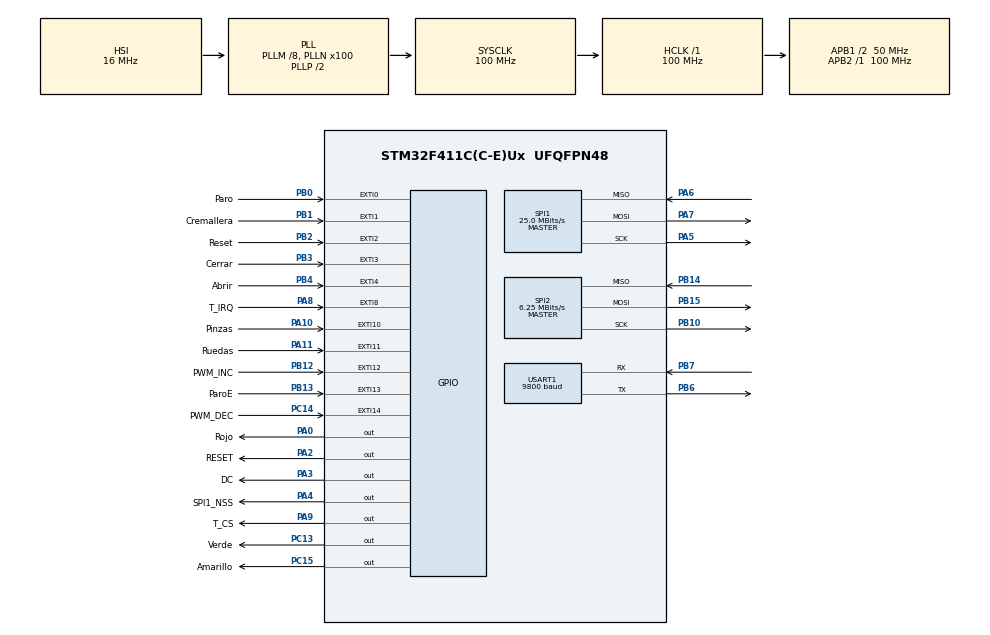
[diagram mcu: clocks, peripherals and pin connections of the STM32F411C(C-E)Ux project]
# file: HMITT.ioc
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Dma.Request0=SPI1_TX
Dma.Request1=USART1_RX
Dma.Request2=USART1_TX
Dma.SPI1_TX.0.Direction=DMA_MEMORY_TO_PERIPH
Dma.SPI1_TX.0.FIFOMode=DMA_FIFOMODE_ENABLE
Dma.SPI1_TX.0.FIFOThreshold=DMA_FIFO_THRESHOLD_FULL
Dma.SPI1_TX.0.Instance=DMA2_Stream2
Dma.SPI1_TX.0.MemBurst=DMA_MBURST_SINGLE
Dma.SPI1_TX.0.MemDataAlignment=DMA_MDATAALIGN_BYTE
Dma.SPI1_TX.0.MemInc=DMA_MINC_ENABLE
Dma.SPI1_TX.0.Mode=DMA_NORMAL
Dma.SPI1_TX.0.PeriphBurst=DMA_PBURST_SINGLE
Dma.SPI1_TX.0.PeriphDataAlignment=DMA_PDATAALIGN_BYTE
Dma.SPI1_TX.0.PeriphInc=DMA_PINC_DISABLE
Dma.SPI1_TX.0.Priority=DMA_PRIORITY_LOW
Dma.USART1_RX.1.Direction=DMA_PERIPH_TO_MEMORY
Dma.USART1_RX.1.FIFOMode=DMA_FIFOMODE_DISABLE
Dma.USART1_RX.1.Instance=DMA2_Stream5
Dma.USART1_RX.1.MemDataAlignment=DMA_MDATAALIGN_BYTE
Dma.USART1_RX.1.MemInc=DMA_MINC_ENABLE
Dma.USART1_RX.1.Mode=DMA_CIRCULAR
Dma.USART1_RX.1.PeriphDataAlignment=DMA_PDATAALIGN_BYTE
Dma.USART1_RX.1.PeriphInc=DMA_PINC_DISABLE
Dma.USART1_RX.1.Priority=DMA_PRIORITY_LOW
Dma.USART1_TX.2.Direction=DMA_MEMORY_TO_PERIPH
Dma.USART1_TX.2.FIFOMode=DMA_FIFOMODE_DISABLE
Dma.USART1_TX.2.Instance=DMA2_Stream7
Dma.USART1_TX.2.MemDataAlignment=DMA_MDATAALIGN_BYTE
Dma.USART1_TX.2.MemInc=DMA_MINC_ENABLE
Dma.USART1_TX.2.Mode=DMA_NORMAL
Dma.USART1_TX.2.PeriphDataAlignment=DMA_PDATAALIGN_BYTE
Dma.USART1_TX.2.PeriphInc=DMA_PINC_DISABLE
Dma.USART1_TX.2.Priority=DMA_PRIORITY_LOW
FREERTOS.Tasks01=defaultTask,24,128,StartDefaultTask,Default,NULL,Dynamic,NULL,NULL;refreshGUI,24,128,RefreshGUI,Default,NULL,Dynamic,NULL,NULL;TouchGFXTask,24,2048,TouchGFX_Task,As external,NULL,Dynamic,NULL,NULL;CounterUp,8,128,Counter_UP,Default,NULL,Dynamic,NULL,NULL;parserTask,39,128,ParserTask,Default,NULL,Dynamic,NULL,NULL
FREERTOS.configTOTAL_HEAP_SIZE=30720
Mcu.Family=STM32F4
Mcu.Name=STM32F411C(C-E)Ux
Mcu.Package=UFQFPN48
NVIC.DMA2_Stream2_IRQn=true\:5\:0\:false\:false\:true\:true\:false\:true\:true
NVIC.DMA2_Stream5_IRQn=true\:5\:0\:false\:false\:true\:true\:false\:true\:true
NVIC.DMA2_Stream7_IRQn=true\:5\:0\:false\:false\:true\:true\:false\:true\:true
NVIC.EXTI0_IRQn=true\:5\:0\:false\:false\:true\:true\:true\:true\:true
NVIC.EXTI15_10_IRQn=true\:5\:0\:false\:false\:true\:true\:true\:true\:true
NVIC.EXTI1_IRQn=true\:5\:0\:false\:false\:true\:true\:true\:true\:true
NVIC.EXTI2_IRQn=true\:5\:0\:false\:false\:true\:true\:true\:true\:true
NVIC.EXTI3_IRQn=true\:5\:0\:false\:false\:true\:true\:true\:true\:true
NVIC.EXTI4_IRQn=true\:5\:0\:false\:false\:true\:true\:true\:true\:true
NVIC.EXTI9_5_IRQn=true\:5\:0\:false\:false\:true\:true\:true\:true\:true
NVIC.PriorityGroup=NVIC_PRIORITYGROUP_4
NVIC.SPI1_IRQn=true\:5\:0\:false\:false\:true\:true\:true\:true\:true
NVIC.SPI2_IRQn=true\:5\:0\:false\:false\:true\:true\:true\:true\:true
NVIC.TIM1_UP_TIM10_IRQn=true\:15\:0\:false\:false\:true\:false\:false\:true\:true
NVIC.TIM2_IRQn=true\:5\:0\:false\:false\:true\:true\:true\:true\:true
NVIC.TimeBase=TIM1_UP_TIM10_IRQn
NVIC.TimeBaseIP=TIM1
NVIC.USART1_IRQn=true\:5\:0\:false\:false\:true\:true\:true\:true\:true
PA0-WKUP.GPIO_Label=Rojo
PA0-WKUP.Signal=GPIO_Output
PA10.GPIO_Label=Pinzas
PA10.GPIO_PuPd=GPIO_PULLDOWN
PA10.Signal=GPXTI10
PA11.GPIO_Label=Ruedas
PA11.GPIO_PuPd=GPIO_PULLDOWN
PA11.Signal=GPXTI11
PA2.GPIO_Label=RESET
PA2.GPIO_PuPd=GPIO_NOPULL
PA2.GPIO_Speed=GPIO_SPEED_FREQ_VERY_HIGH
PA2.Signal=GPIO_Output
PA3.GPIO_Label=DC
PA3.GPIO_Speed=GPIO_SPEED_FREQ_VERY_HIGH
PA3.Signal=GPIO_Output
PA4.GPIO_Label=SPI1_NSS
PA4.GPIO_Speed=GPIO_SPEED_FREQ_VERY_HIGH
PA4.Signal=GPIO_Output
PA5.Mode=Full_Duplex_Master
PA5.Signal=SPI1_SCK
PA6.Mode=Full_Duplex_Master
PA6.Signal=SPI1_MISO
PA7.Mode=Full_Duplex_Master
PA7.Signal=SPI1_MOSI
PA8.GPIO_Label=T_IRQ
PA8.GPIO_ModeDefaultEXTI=GPIO_MODE_IT_FALLING
PA8.GPIO_PuPd=GPIO_PULLUP
PA8.Signal=GPXTI8
PA9.GPIO_Label=T_CS
PA9.Signal=GPIO_Output
PB0.GPIO_Label=Paro
PB0.GPIO_PuPd=GPIO_PULLDOWN
PB0.Signal=GPXTI0
PB1.GPIO_Label=Cremallera
PB1.GPIO_PuPd=GPIO_PULLDOWN
PB1.Signal=GPXTI1
PB10.Mode=Full_Duplex_Master
PB10.Signal=SPI2_SCK
PB12.GPIO_Label=PWM_INC
PB12.GPIO_ModeDefaultEXTI=GPIO_MODE_IT_RISING
PB12.GPIO_PuPd=GPIO_PULLDOWN
PB12.Signal=GPXTI12
PB13.GPIO_Label=ParoE
PB13.GPIO_PuPd=GPIO_PULLDOWN
PB13.Signal=GPXTI13
PB14.Mode=Full_Duplex_Master
PB14.Signal=SPI2_MISO
PB15.Mode=Full_Duplex_Master
PB15.Signal=SPI2_MOSI
PB2.GPIO_Label=Reset
PB2.GPIO_PuPd=GPIO_PULLDOWN
PB2.Signal=GPXTI2
PB3.GPIO_Label=Cerrar
PB3.GPIO_PuPd=GPIO_PULLDOWN
PB3.Signal=GPXTI3
PB4.GPIO_Label=Abrir
PB4.GPIO_PuPd=GPIO_PULLDOWN
PB4.Signal=GPXTI4
PB6.Mode=Asynchronous
PB6.Signal=USART1_TX
PB7.Mode=Asynchronous
PB7.Signal=USART1_RX
PC13-ANTI_TAMP.GPIO_Label=Verde
PC13-ANTI_TAMP.Signal=GPIO_Output
PC14-OSC32_IN.GPIO_Label=PWM_DEC
PC14-OSC32_IN.GPIO_PuPd=GPIO_PULLDOWN
PC14-OSC32_IN.Signal=GPXTI14
PC15-OSC32_OUT.GPIO_Label=Amarillo
PC15-OSC32_OUT.Signal=GPIO_Output
ProjectManager.HeapSize=0x2000
ProjectManager.StackSize=0x4000
ProjectManager.TargetToolchain=STM32CubeIDE
RCC.48MHZClocksFreq_Value=50000000
RCC.AHBFreq_Value=100000000
RCC.APB1CLKDivider=RCC_HCLK_DIV2
RCC.APB1Freq_Value=50000000
RCC.APB1TimFreq_Value=100000000
RCC.APB2Freq_Value=100000000
RCC.APB2TimFreq_Value=100000000
RCC.CortexFreq_Value=100000000
RCC.HCLKFreq_Value=100000000
RCC.HSE_VALUE=25000000
RCC.HSI_VALUE=16000000
RCC.LSE_VALUE=32768
RCC.PLLM=8
RCC.PLLN=100
RCC.SYSCLKFreq_VALUE=100000000
RCC.SYSCLKSource=RCC_SYSCLKSOURCE_PLLCLK
RCC.VCOOutputFreq_Value=200000000
SPI1.BaudRatePrescaler=SPI_BAUDRATEPRESCALER_4
SPI1.CalculateBaudRate=25.0 MBits/s
SPI1.DataSize=SPI_DATASIZE_8BIT
SPI1.Direction=SPI_DIRECTION_2LINES
SPI1.Mode=SPI_MODE_MASTER
SPI1.VirtualType=VM_MASTER
SPI2.BaudRatePrescaler=SPI_BAUDRATEPRESCALER_8
SPI2.CalculateBaudRate=6.25 MBits/s
SPI2.DataSize=SPI_DATASIZE_8BIT
SPI2.Direction=SPI_DIRECTION_2LINES
SPI2.Mode=SPI_MODE_MASTER
SPI2.VirtualType=VM_MASTER
STMicroelectronics.X-CUBE-TOUCHGFX.4.26.0.ApplicationCcGraphicsJjApplication=TouchGFXOoGenerator
STMicroelectronics.X-CUBE-TOUCHGFX.4.26.0.tgfx_block_size=1920
STMicroelectronics.X-CUBE-TOUCHGFX.4.26.0.tgfx_buffering_strategy=Partial
STMicroelectronics.X-CUBE-TOUCHGFX.4.26.0.tgfx_custom_height=240
STMicroelectronics.X-CUBE-TOUCHGFX.4.26.0.tgfx_custom_width=320
STMicroelectronics.X-CUBE-TOUCHGFX.4.26.0_IsPackSelfContextualization=true
TIM2.Period=50000-1
TIM2.Prescaler=99
USART1.BaudRate=9800
USART1.Mode=MODE_TX_RX
USART1.VirtualMode=VM_ASYNC
VP_CRC_VS_CRC.Mode=CRC_Activate
VP_FREERTOS_VS_CMSIS_V2.Mode=CMSIS_V2
VP_STMicroelectronics.X-CUBE-TOUCHGFX_VS_GraphicsJjApplication_4.26.0.Mode=GraphicsJjApplication
VP_SYS_VS_tim1.Mode=TIM1
VP_TIM2_VS_ClockSourceINT.Mode=Internal
board=custom

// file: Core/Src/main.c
/* USER CODE BEGIN Header */
/**
  ******************************************************************************
  * @file           : main.c
  * @brief          : Main program body
  ******************************************************************************
  * @attention
  *
  * Copyright (c) 2026 STMicroelectronics.
  * All rights reserved.
  *
  * This software is licensed under terms that can be found in the LICENSE file
  * in the root directory of this software component.
  * If no LICENSE file comes with this software, it is provided AS-IS.
  *
  ******************************************************************************
  */
/* USER CODE END Header */
#include "main.h"
#include "cmsis_os.h"
#include "app_touchgfx.h"

/* USER CODE BEGIN Includes */
#include "ili9341.h"
#include "xpt2046.h"
#include "globals.h"
#include "protocolo.h"
/* USER CODE END Includes */

/* USER CODE BEGIN PD */
#define DMA_RX_BUF_SIZE 64
/* USER CODE END PD */

CRC_HandleTypeDef hcrc;

SPI_HandleTypeDef hspi1;
SPI_HandleTypeDef hspi2;
DMA_HandleTypeDef hdma_spi1_tx;

TIM_HandleTypeDef htim2;

UART_HandleTypeDef huart1;
DMA_HandleTypeDef hdma_usart1_rx;
DMA_HandleTypeDef hdma_usart1_tx;

/* Definitions for defaultTask */
osThreadId_t defaultTaskHandle;
const osThreadAttr_t defaultTask_attributes = {
  .name = "defaultTask",
  .stack_size = 128 * 4,
  .priority = (osPriority_t) osPriorityNormal,
};
/* Definitions for refreshGUI */
osThreadId_t refreshGUIHandle;
const osThreadAttr_t refreshGUI_attributes = {
  .name = "refreshGUI",
  .stack_size = 128 * 4,
  .priority = (osPriority_t) osPriorityNormal,
};
/* Definitions for TouchGFXTask */
osThreadId_t TouchGFXTaskHandle;
const osThreadAttr_t TouchGFXTask_attributes = {
  .name = "TouchGFXTask",
  .stack_size = 2048 * 4,
  .priority = (osPriority_t) osPriorityNormal,
};
/* Definitions for CounterUp */
osThreadId_t CounterUpHandle;
const osThreadAttr_t CounterUp_attributes = {
  .name = "CounterUp",
  .stack_size = 128 * 4,
  .priority = (osPriority_t) osPriorityLow,
};
/* Definitions for parserTask */
osThreadId_t parserTaskHandle;
const osThreadAttr_t parserTask_attributes = {
  .name = "parserTask",
  .stack_size = 128 * 4,
  .priority = (osPriority_t) osPriorityAboveNormal7,
};
/* USER CODE BEGIN PV */
uint8_t dma_rx_buf[DMA_RX_BUF_SIZE];
volatile uint16_t dma_read_idx = 0;
osSemaphoreId_t uartRxSemHandle;
/* USER CODE END PV */

void SystemClock_Config(void);
static void MX_GPIO_Init(void);
static void MX_DMA_Init(void);
static void MX_SPI1_Init(void);
static void MX_SPI2_Init(void);
static void MX_CRC_Init(void);
static void MX_TIM2_Init(void);
static void MX_USART1_UART_Init(void);
void StartDefaultTask(void *argument);
void RefreshGUI(void *argument);
extern void TouchGFX_Task(void *argument);
void Counter_UP(void *argument);
void ParserTask(void *argument);

int main(void)
{

  /* MCU Configuration--------------------------------------------------------*/

  /* Reset of all peripherals, Initializes the Flash interface and the Systick. */
  HAL_Init();

  /* Configure the system clock */
  SystemClock_Config();

  /* Initialize all configured peripherals */
  MX_GPIO_Init();
  MX_DMA_Init();
  MX_SPI1_Init();
  MX_SPI2_Init();
  MX_CRC_Init();
  MX_TIM2_Init();
  MX_USART1_UART_Init();

  /* Call PreOsInit function */
  MX_TouchGFX_PreOSInit();
  /* USER CODE BEGIN 2 */

    ILI9341_Init();
    XPT2046_Init();

    HAL_UART_Receive_DMA(&huart1, dma_rx_buf, DMA_RX_BUF_SIZE);
    HAL_GPIO_WritePin(Amarillo_GPIO_Port, Amarillo_Pin, GPIO_PIN_RESET);
	HAL_GPIO_WritePin(Verde_GPIO_Port, Verde_Pin, GPIO_PIN_RESET);
	HAL_GPIO_WritePin(Rojo_GPIO_Port, Rojo_Pin, GPIO_PIN_SET);
  /* USER CODE END 2 */

  /* Init scheduler */
  osKernelInitialize();
  MX_TouchGFX_Init();

  /* USER CODE BEGIN RTOS_SEMAPHORES */
  const osSemaphoreAttr_t uartRxSem_attr = { .name = "uartRxSem" };
  uartRxSemHandle = osSemaphoreNew(1, 0, &uartRxSem_attr);
  /* USER CODE END RTOS_SEMAPHORES */

  /* Create the thread(s) */
  /* creation of defaultTask */
  defaultTaskHandle = osThreadNew(StartDefaultTask, NULL, &defaultTask_attributes);

  /* creation of refreshGUI */
  refreshGUIHandle = osThreadNew(RefreshGUI, NULL, &refreshGUI_attributes);

  /* creation of TouchGFXTask */
  TouchGFXTaskHandle = osThreadNew(TouchGFX_Task, NULL, &TouchGFXTask_attributes);

  /* creation of CounterUp */
  CounterUpHandle = osThreadNew(Counter_UP, NULL, &CounterUp_attributes);

  /* creation of parserTask */
  parserTaskHandle = osThreadNew(ParserTask, NULL, &parserTask_attributes);

  /* Start scheduler */
  osKernelStart();

  /* We should never get here as control is now taken by the scheduler */

  /* Infinite loop */
  while (1)
  {

  }
}

void SystemClock_Config(void)
{
  RCC_OscInitTypeDef RCC_OscInitStruct = {0};
  RCC_ClkInitTypeDef RCC_ClkInitStruct = {0};

  /** Configure the main internal regulator output voltage
  */
  __HAL_RCC_PWR_CLK_ENABLE();
  __HAL_PWR_VOLTAGESCALING_CONFIG(PWR_REGULATOR_VOLTAGE_SCALE1);

  /** Initializes the RCC Oscillators according to the specified parameters
  * in the RCC_OscInitTypeDef structure.
  */
  RCC_OscInitStruct.OscillatorType = RCC_OSCILLATORTYPE_HSI;
  RCC_OscInitStruct.HSIState = RCC_HSI_ON;
  RCC_OscInitStruct.HSICalibrationValue = RCC_HSICALIBRATION_DEFAULT;
  RCC_OscInitStruct.PLL.PLLState = RCC_PLL_ON;
  RCC_OscInitStruct.PLL.PLLSource = RCC_PLLSOURCE_HSI;
  RCC_OscInitStruct.PLL.PLLM = 8;
  RCC_OscInitStruct.PLL.PLLN = 100;
  RCC_OscInitStruct.PLL.PLLP = RCC_PLLP_DIV2;
  RCC_OscInitStruct.PLL.PLLQ = 4;
  if (HAL_RCC_OscConfig(&RCC_OscInitStruct) != HAL_OK)
  {
    Error_Handler();
  }

  /** Initializes the CPU, AHB and APB buses clocks
  */
  RCC_ClkInitStruct.ClockType = RCC_CLOCKTYPE_HCLK|RCC_CLOCKTYPE_SYSCLK
                              |RCC_CLOCKTYPE_PCLK1|RCC_CLOCKTYPE_PCLK2;
  RCC_ClkInitStruct.SYSCLKSource = RCC_SYSCLKSOURCE_PLLCLK;
  RCC_ClkInitStruct.AHBCLKDivider = RCC_SYSCLK_DIV1;
  RCC_ClkInitStruct.APB1CLKDivider = RCC_HCLK_DIV2;
  RCC_ClkInitStruct.APB2CLKDivider = RCC_HCLK_DIV1;

  if (HAL_RCC_ClockConfig(&RCC_ClkInitStruct, FLASH_LATENCY_3) != HAL_OK)
  {
    Error_Handler();
  }
}

static void MX_CRC_Init(void)
{

  hcrc.Instance = CRC;
  if (HAL_CRC_Init(&hcrc) != HAL_OK)
  {
    Error_Handler();
  }

}

static void MX_SPI1_Init(void)
{

  /* SPI1 parameter configuration*/
  hspi1.Instance = SPI1;
  hspi1.Init.Mode = SPI_MODE_MASTER;
  hspi1.Init.Direction = SPI_DIRECTION_2LINES;
  hspi1.Init.DataSize = SPI_DATASIZE_8BIT;
  hspi1.Init.CLKPolarity = SPI_POLARITY_LOW;
  hspi1.Init.CLKPhase = SPI_PHASE_1EDGE;
  hspi1.Init.NSS = SPI_NSS_SOFT;
  hspi1.Init.BaudRatePrescaler = SPI_BAUDRATEPRESCALER_4;
  hspi1.Init.FirstBit = SPI_FIRSTBIT_MSB;
  hspi1.Init.TIMode = SPI_TIMODE_DISABLE;
  hspi1.Init.CRCCalculation = SPI_CRCCALCULATION_DISABLE;
  hspi1.Init.CRCPolynomial = 10;
  if (HAL_SPI_Init(&hspi1) != HAL_OK)
  {
    Error_Handler();
  }

}

static void MX_SPI2_Init(void)
{

  /* SPI2 parameter configuration*/
  hspi2.Instance = SPI2;
  hspi2.Init.Mode = SPI_MODE_MASTER;
  hspi2.Init.Direction = SPI_DIRECTION_2LINES;
  hspi2.Init.DataSize = SPI_DATASIZE_8BIT;
  hspi2.Init.CLKPolarity = SPI_POLARITY_LOW;
  hspi2.Init.CLKPhase = SPI_PHASE_1EDGE;
  hspi2.Init.NSS = SPI_NSS_SOFT;
  hspi2.Init.BaudRatePrescaler = SPI_BAUDRATEPRESCALER_8;
  hspi2.Init.FirstBit = SPI_FIRSTBIT_MSB;
  hspi2.Init.TIMode = SPI_TIMODE_DISABLE;
  hspi2.Init.CRCCalculation = SPI_CRCCALCULATION_DISABLE;
  hspi2.Init.CRCPolynomial = 10;
  if (HAL_SPI_Init(&hspi2) != HAL_OK)
  {
    Error_Handler();
  }

}

static void MX_TIM2_Init(void)
{

  TIM_ClockConfigTypeDef sClockSourceConfig = {0};
  TIM_MasterConfigTypeDef sMasterConfig = {0};

  htim2.Instance = TIM2;
  htim2.Init.Prescaler = 99;
  htim2.Init.CounterMode = TIM_COUNTERMODE_UP;
  htim2.Init.Period = 50000-1;
  htim2.Init.ClockDivision = TIM_CLOCKDIVISION_DIV1;
  htim2.Init.AutoReloadPreload = TIM_AUTORELOAD_PRELOAD_DISABLE;
  if (HAL_TIM_Base_Init(&htim2) != HAL_OK)
  {
    Error_Handler();
  }
  sClockSourceConfig.ClockSource = TIM_CLOCKSOURCE_INTERNAL;
  if (HAL_TIM_ConfigClockSource(&htim2, &sClockSourceConfig) != HAL_OK)
  {
    Error_Handler();
  }
  sMasterConfig.MasterOutputTrigger = TIM_TRGO_RESET;
  sMasterConfig.MasterSlaveMode = TIM_MASTERSLAVEMODE_DISABLE;
  if (HAL_TIMEx_MasterConfigSynchronization(&htim2, &sMasterConfig) != HAL_OK)
  {
    Error_Handler();
  }

}

static void MX_USART1_UART_Init(void)
{

  huart1.Instance = USART1;
  huart1.Init.BaudRate = 9800;
  huart1.Init.WordLength = UART_WORDLENGTH_8B;
  huart1.Init.StopBits = UART_STOPBITS_1;
  huart1.Init.Parity = UART_PARITY_NONE;
  huart1.Init.Mode = UART_MODE_TX_RX;
  huart1.Init.HwFlowCtl = UART_HWCONTROL_NONE;
  huart1.Init.OverSampling = UART_OVERSAMPLING_16;
  if (HAL_UART_Init(&huart1) != HAL_OK)
  {
    Error_Handler();
  }

}

static void MX_DMA_Init(void)
{

  /* DMA controller clock enable */
  __HAL_RCC_DMA2_CLK_ENABLE();

  /* DMA interrupt init */
  /* DMA2_Stream2_IRQn interrupt configuration */
  HAL_NVIC_SetPriority(DMA2_Stream2_IRQn, 5, 0);
  HAL_NVIC_EnableIRQ(DMA2_Stream2_IRQn);
  /* DMA2_Stream5_IRQn interrupt configuration */
  HAL_NVIC_SetPriority(DMA2_Stream5_IRQn, 5, 0);
  HAL_NVIC_EnableIRQ(DMA2_Stream5_IRQn);
  /* DMA2_Stream7_IRQn interrupt configuration */
  HAL_NVIC_SetPriority(DMA2_Stream7_IRQn, 5, 0);
  HAL_NVIC_EnableIRQ(DMA2_Stream7_IRQn);

}

static void MX_GPIO_Init(void)
{
  GPIO_InitTypeDef GPIO_InitStruct = {0};

  /* GPIO Ports Clock Enable */
  __HAL_RCC_GPIOC_CLK_ENABLE();
  __HAL_RCC_GPIOA_CLK_ENABLE();
  __HAL_RCC_GPIOB_CLK_ENABLE();

  /*Configure GPIO pin Output Level */
  HAL_GPIO_WritePin(GPIOC, Verde_Pin|Amarillo_Pin, GPIO_PIN_RESET);

  /*Configure GPIO pin Output Level */
  HAL_GPIO_WritePin(GPIOA, Rojo_Pin|RESET_Pin|DC_Pin|SPI1_NSS_Pin
                          |T_CS_Pin, GPIO_PIN_RESET);

  /*Configure GPIO pins : Verde_Pin Amarillo_Pin */
  GPIO_InitStruct.Pin = Verde_Pin|Amarillo_Pin;
  GPIO_InitStruct.Mode = GPIO_MODE_OUTPUT_PP;
  GPIO_InitStruct.Pull = GPIO_NOPULL;
  GPIO_InitStruct.Speed = GPIO_SPEED_FREQ_LOW;
  HAL_GPIO_Init(GPIOC, &GPIO_InitStruct);

  /*Configure GPIO pin : PWM_DEC_Pin */
  GPIO_InitStruct.Pin = PWM_DEC_Pin;
  GPIO_InitStruct.Mode = GPIO_MODE_IT_RISING;
  GPIO_InitStruct.Pull = GPIO_PULLDOWN;
  HAL_GPIO_Init(PWM_DEC_GPIO_Port, &GPIO_InitStruct);

  /*Configure GPIO pins : Rojo_Pin T_CS_Pin */
  GPIO_InitStruct.Pin = Rojo_Pin|T_CS_Pin;
  GPIO_InitStruct.Mode = GPIO_MODE_OUTPUT_PP;
  GPIO_InitStruct.Pull = GPIO_NOPULL;
  GPIO_InitStruct.Speed = GPIO_SPEED_FREQ_LOW;
  HAL_GPIO_Init(GPIOA, &GPIO_InitStruct);

  /*Configure GPIO pins : RESET_Pin DC_Pin SPI1_NSS_Pin */
  GPIO_InitStruct.Pin = RESET_Pin|DC_Pin|SPI1_NSS_Pin;
  GPIO_InitStruct.Mode = GPIO_MODE_OUTPUT_PP;
  GPIO_InitStruct.Pull = GPIO_NOPULL;
  GPIO_InitStruct.Speed = GPIO_SPEED_FREQ_VERY_HIGH;
  HAL_GPIO_Init(GPIOA, &GPIO_InitStruct);

  /*Configure GPIO pins : Paro_Pin Cremallera_Pin Reset_Pin PWM_INC_Pin
                           ParoE_Pin Cerrar_Pin Abrir_Pin */
  GPIO_InitStruct.Pin = Paro_Pin|Cremallera_Pin|Reset_Pin|PWM_INC_Pin
                          |ParoE_Pin|Cerrar_Pin|Abrir_Pin;
  GPIO_InitStruct.Mode = GPIO_MODE_IT_RISING;
  GPIO_InitStruct.Pull = GPIO_PULLDOWN;
  HAL_GPIO_Init(GPIOB, &GPIO_InitStruct);

  /*Configure GPIO pin : T_IRQ_Pin */
  GPIO_InitStruct.Pin = T_IRQ_Pin;
  GPIO_InitStruct.Mode = GPIO_MODE_IT_FALLING;
  GPIO_InitStruct.Pull = GPIO_PULLUP;
  HAL_GPIO_Init(T_IRQ_GPIO_Port, &GPIO_InitStruct);

  /*Configure GPIO pins : Pinzas_Pin Ruedas_Pin */
  GPIO_InitStruct.Pin = Pinzas_Pin|Ruedas_Pin;
  GPIO_InitStruct.Mode = GPIO_MODE_IT_RISING;
  GPIO_InitStruct.Pull = GPIO_PULLDOWN;
  HAL_GPIO_Init(GPIOA, &GPIO_InitStruct);

  /* EXTI interrupt init*/
  HAL_NVIC_SetPriority(EXTI0_IRQn, 5, 0);
  HAL_NVIC_EnableIRQ(EXTI0_IRQn);

  HAL_NVIC_SetPriority(EXTI1_IRQn, 5, 0);
  HAL_NVIC_EnableIRQ(EXTI1_IRQn);

  HAL_NVIC_SetPriority(EXTI2_IRQn, 5, 0);
  HAL_NVIC_EnableIRQ(EXTI2_IRQn);

  HAL_NVIC_SetPriority(EXTI3_IRQn, 5, 0);
  HAL_NVIC_EnableIRQ(EXTI3_IRQn);

  HAL_NVIC_SetPriority(EXTI4_IRQn, 5, 0);
  HAL_NVIC_EnableIRQ(EXTI4_IRQn);

  HAL_NVIC_SetPriority(EXTI9_5_IRQn, 5, 0);
  HAL_NVIC_EnableIRQ(EXTI9_5_IRQn);

  HAL_NVIC_SetPriority(EXTI15_10_IRQn, 5, 0);
  HAL_NVIC_EnableIRQ(EXTI15_10_IRQn);

}

/* USER CODE BEGIN 4 */
void HAL_UART_ErrorCallback(UART_HandleTypeDef *huart)
{
    if (huart->Instance == USART1)
    {
        __HAL_UART_CLEAR_OREFLAG(huart);
        __HAL_UART_CLEAR_PEFLAG(huart);
        __HAL_UART_CLEAR_FEFLAG(huart);
        __HAL_UART_CLEAR_NEFLAG(huart);
        dma_read_idx = 0;
        HAL_UART_Receive_DMA(&huart1, dma_rx_buf, DMA_RX_BUF_SIZE);
    }
}
/* USER CODE END 4 */

void StartDefaultTask(void *argument)
{
  /* USER CODE BEGIN 5 */
  for(;;)
  {
    if (HAL_GetTick() - last_telemetry_time > 3000) {
        HAL_GPIO_WritePin(Rojo_GPIO_Port,    Rojo_Pin,    GPIO_PIN_SET);
        HAL_GPIO_WritePin(Amarillo_GPIO_Port, Amarillo_Pin, GPIO_PIN_RESET);
        HAL_GPIO_WritePin(Verde_GPIO_Port,   Verde_Pin,   GPIO_PIN_RESET);
    }
    osDelay(500);
  }
  /* USER CODE END 5 */
}

void RefreshGUI(void *argument)
{
  /* USER CODE BEGIN RefreshGUI */
  /* Infinite loop */
	TickType_t xLastWakeTime;
	  const TickType_t xFrequency = pdMS_TO_TICKS(50);
	  extern void touchgfxSignalVSync(void);
	  xLastWakeTime = xTaskGetTickCount();

	  for(;;)
	  {
		  touchgfxSignalVSync();
	      vTaskDelayUntil(&xLastWakeTime, xFrequency);
	  }
  /* USER CODE END RefreshGUI */
}

void Counter_UP(void *argument)
{
  /* USER CODE BEGIN Counter_UP */
  /* Infinite loop */
  for(;;)
  {
    osDelay(1000);
  }
  /* USER CODE END Counter_UP */
}

void ParserTask(void *argument)
{
  /* USER CODE BEGIN ParserTask */
	 Packet_t pkt;
	  ParserCtx_t ctx = {0};

      osDelay(100);
      __HAL_UART_CLEAR_IDLEFLAG(&huart1);
      HAL_UART_Receive_DMA(&huart1, dma_rx_buf, DMA_RX_BUF_SIZE);
      __HAL_UART_ENABLE_IT(&huart1, UART_IT_IDLE);

      /* Send handshake after UART DMA is fully initialized */
      uint16_t packet_size = 0;
      static uint8_t tx_buffer[20];
      uint8_t payload[1] = {(uint8_t)(0)};
      packet_size = build_packet(tx_buffer, CMD_ACK_NACK, payload, 1);
      if (huart1.gState == HAL_UART_STATE_READY) {
          HAL_UART_Transmit_DMA(&huart1, tx_buffer, packet_size);
      }

	  for(;;)
	  {
	    osSemaphoreAcquire(uartRxSemHandle, osWaitForever);
	    uint16_t dma_write_idx = (DMA_RX_BUF_SIZE
	        - __HAL_DMA_GET_COUNTER(huart1.hdmarx)) % DMA_RX_BUF_SIZE;
	    while (dma_read_idx != dma_write_idx) {
	      uint8_t byte = dma_rx_buf[dma_read_idx];
	      dma_read_idx = (dma_read_idx + 1) % DMA_RX_BUF_SIZE;
	      if (parse_byte(byte, &pkt, &ctx)) {
	        execute_command(&pkt);
	      }
	    }
	  }
  /* USER CODE END ParserTask */
}

void HAL_TIM_PeriodElapsedCallback(TIM_HandleTypeDef *htim)
{
  if (htim->Instance == TIM1) {
    HAL_IncTick();
  }
}

void Error_Handler(void)
{
  __disable_irq();
  while (1)
  {
  }
}
